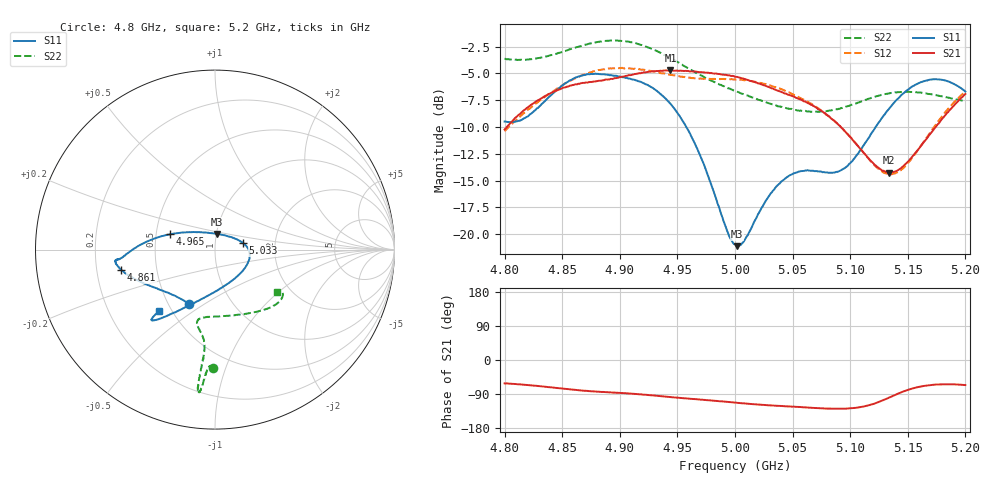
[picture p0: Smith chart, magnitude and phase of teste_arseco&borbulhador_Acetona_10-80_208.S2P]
! Network Analyzer HP8722D
! Hewlett-Packard
! Data name: Linha & Wilkinson
! Saver's name: Rodrigo Anjos
! Comments: Teste da utilização de aquisição
! continua pelo VNA HP8722D
! Time and date: 17/4/2025 16:05
!  Frequency  S11  S21  S12  S22
# HZ  S  MA R 50
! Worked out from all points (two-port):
!   401 points, 4.8 GHz to 5.2 GHz, reference 50 ohm
!   highest |S21| = -4.72 dB at 4.944 GHz (marker M1); lowest = -14.3 dB at 5.134 GHz (marker M2)
!   |S21| within 3 dB of the highest: 4.826 GHz to 5.062 GHz (236.3 MHz wide, 4.78 % of centre); 5.192552 GHz to end of sweep
!   lowest |S11| = -21.1 dB at 5.002 GHz (marker M3), VSWR 1.19, Z = 50.4 + j8.85 ohm
!   |S11| at or under -10 dB: 4.958 GHz to 5.122 GHz (164.4 MHz wide, 3.26 % of centre)
!   |S22| runs from -8.6 to -1.9 dB; largest |S21 - S12| = 0.87
!   S11 on the Smith chart (normalised r, x): 4.8 GHz: 0.63, -0.43; 4.861 GHz: 0.31, -0.10; 4.965 GHz: 0.59, +0.11; 5.033 GHz: 1.36, +0.11; 5.2 GHz: 0.43, -0.37
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4.8e9  0.335 -115.9  0.3076 -61.8  0.302 -176.1  0.6577 -91.0
4.819e9  0.3521 -136.0  0.3867 -65.8  0.3752 -175.3  0.6517 -92.7
4.861e9  0.5356 -167.8  0.4995 -79.0  0.532 -178.8  0.7393 -95.0
4.867e9  0.5486 -170.2  0.5063 -80.6  0.5506 -179.8  0.7555 -95.2
4.898e9  0.5453 -174.2  0.536 -86.4  0.5943 174.1  0.7995 -96.6
4.934e9  0.4576 179.9  0.5771 -95.1  0.569 170.6  0.7063 -96.9
4.944e9  0.4058 175.3  0.5809 -97.9  0.5523 170.8  0.6625 -96.6
4.965e9  0.2656 161.3  0.574 -103.3  0.5334 172.5  0.5707 -96.0
4.994e9  0.101 111.7  0.5511 -110.7  0.5285 174.6  0.4786 -98.7
5e9  0.08968 90.1  0.5416 -112.5  0.5275 174.9  0.4651 -99.9
5.002e9  0.0879 82.4  0.5411 -113.0  0.526 174.7  0.4613 -100.5
5.009e9  0.09524 57.2  0.528 -114.8  0.524 174.7  0.4457 -101.9
5.033e9  0.1595 13.9  0.4781 -120.0  0.4884 173.3  0.403 -103.6
5.049e9  0.1896 -1.8  0.4424 -123.0  0.4523 172.8  0.3841 -99.2
5.067e9  0.1979 -21.1  0.4001 -126.1  0.4028 172.5  0.3725 -89.0
5.096e9  0.2047 -71.6  0.2994 -128.3  0.2998 174.6  0.3929 -66.4
5.122e9  0.3156 -110.7  0.2094 -114.0  0.2073 -168.8  0.4381 -49.0
5.134e9  0.3867 -119.9  0.1938 -99.0  0.1901 -152.0  0.4536 -43.2
5.146e9  0.453 -125.7  0.2072 -83.3  0.2029 -133.9  0.4611 -38.6
5.167e9  0.5209 -131.0  0.2812 -67.1  0.2851 -113.7  0.4518 -33.2
5.183e9  0.5201 -132.5  0.3612 -64.1  0.3733 -108.5  0.4351 -32.0
5.2e9  0.4621 -132.5  0.4504 -66.2  0.462 -108.3  0.4163 -34.5
